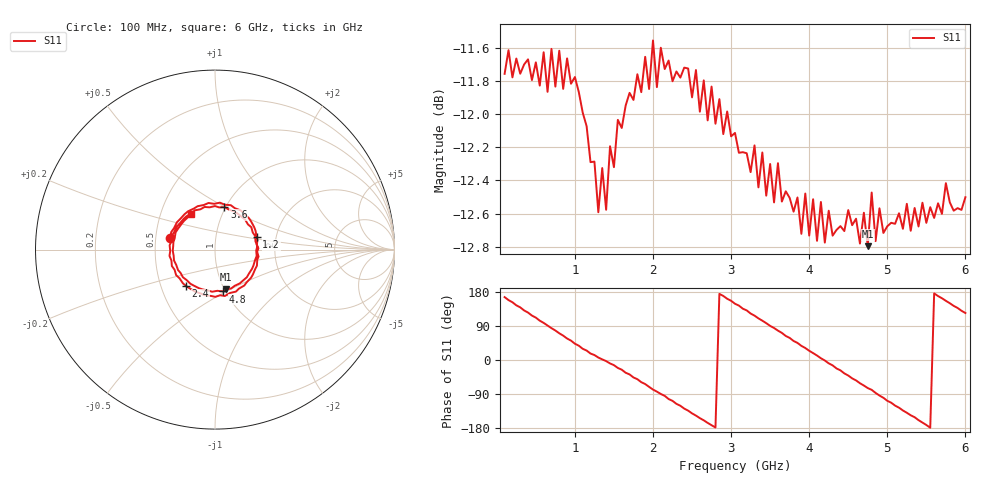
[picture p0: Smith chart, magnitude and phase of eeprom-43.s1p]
! Created with skrf 2.0.0 (http://scikit-rf.org).
# Hz S RI R 50.0
!freq ReS11 ImS11
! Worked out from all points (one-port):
!   119 points, 100 MHz to 6 GHz, reference 50 ohm
!   lowest |S11| = -12.8 dB at 4.75 GHz (marker M1), VSWR 1.59, Z = 51.1 - j23.8 ohm
!   |S11| at or under -10 dB: start of sweep to end of sweep
!   S11 on the Smith chart (normalised r, x): 100 MHz: 0.60, +0.08; 1.2 GHz: 1.58, +0.24; 2.4 GHz: 0.67, -0.29; 3.6 GHz: 0.99, +0.50; 4.8 GHz: 0.98, -0.48; 6 GHz: 0.71, +0.30
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1e8  -0.2507 0.0626
2.5e8  -0.2121 0.1524
5e8  -0.0967 0.2418
7e8  0.0273 0.2615
8.5e8  0.1109 0.2304
1e9  0.1886 0.1758
1.2e9  0.2323 0.0713
1.4e9  0.2347 -0.0119
1.6e9  0.2244 -0.1074
1.8e9  0.1636 -0.1999
2e9  0.0549 -0.2587
2.35e9  -0.1316 -0.2216
2.4e9  -0.1607 -0.2038
2.75e9  -0.2536 -0.0353
3.05e9  -0.2112 0.1299
3.3e9  -0.1118 0.2189
3.6e9  0.0525 0.237
3.8e9  0.1502 0.1804
4.15e9  0.2356 0.0189
4.4e9  0.2065 -0.1067
4.55e9  0.1542 -0.1741
4.75e9  0.0628 -0.2204
4.8e9  0.0464 -0.2333
5.05e9  -0.0899 -0.2149
5.3e9  -0.1918 -0.1299
5.45e9  -0.2283 -0.0606
5.65e9  -0.2316 0.0461
6e9  -0.1325 0.1966
